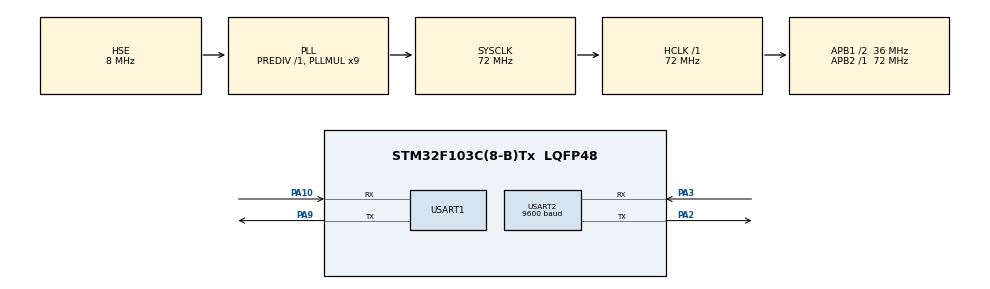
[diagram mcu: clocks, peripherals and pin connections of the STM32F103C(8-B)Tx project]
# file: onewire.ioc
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Mcu.Family=STM32F1
Mcu.Name=STM32F103C(8-B)Tx
Mcu.Package=LQFP48
NVIC.PriorityGroup=NVIC_PRIORITYGROUP_4
NVIC.USART2_IRQn=true\:0\:0\:false\:false\:true
PA10.Mode=Asynchronous
PA10.Signal=USART1_RX
PA2.Mode=Asynchronous
PA2.Signal=USART2_TX
PA3.Mode=Asynchronous
PA3.Signal=USART2_RX
PA9.Mode=Asynchronous
PA9.Signal=USART1_TX
PD0-OSC_IN.Mode=HSE-External-Oscillator
PD0-OSC_IN.Signal=RCC_OSC_IN
PD1-OSC_OUT.Mode=HSE-External-Oscillator
PD1-OSC_OUT.Signal=RCC_OSC_OUT
ProjectManager.HeapSize=0x200
ProjectManager.StackSize=0x400
ProjectManager.TargetToolchain=EWARM 6.70
RCC.AHBFreq_Value=72000000
RCC.APB1CLKDivider=RCC_HCLK_DIV2
RCC.APB1Freq_Value=36000000
RCC.APB1TimFreq_Value=72000000
RCC.APB2Freq_Value=72000000
RCC.APB2TimFreq_Value=72000000
RCC.HCLKFreq_Value=72000000
RCC.HSIState=RCC_HSI_ON
RCC.PLLMUL=RCC_PLL_MUL9
RCC.PLLSourceVirtual=RCC_PLLSOURCE_HSE
RCC.SYSCLKFreq_VALUE=72000000
RCC.SYSCLKSource=RCC_SYSCLKSOURCE_PLLCLK
RCC.USBFreq_Value=72000000
USART2.BaudRate=9600
VP_SYS_VS_ND.Mode=No_Debug
board=onewire

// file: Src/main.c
/**
  ******************************************************************************
  * File Name          : main.c
  * Description        : Main program body
  ******************************************************************************
  *
  * COPYRIGHT(c) 2016 STMicroelectronics
  *
  * Redistribution and use in source and binary forms, with or without modification,
  * are permitted provided that the following conditions are met:
  *   1. Redistributions of source code must retain the above copyright notice,
  *      this list of conditions and the following disclaimer.
  *   2. Redistributions in binary form must reproduce the above copyright notice,
  *      this list of conditions and the following disclaimer in the documentation
  *      and/or other materials provided with the distribution.
  *   3. Neither the name of STMicroelectronics nor the names of its contributors
  *      may be used to endorse or promote products derived from this software
  *      without specific prior written permission.
  *
  * THIS SOFTWARE IS PROVIDED BY THE COPYRIGHT HOLDERS AND CONTRIBUTORS "AS IS"
  * AND ANY EXPRESS OR IMPLIED WARRANTIES, INCLUDING, BUT NOT LIMITED TO, THE
  * IMPLIED WARRANTIES OF MERCHANTABILITY AND FITNESS FOR A PARTICULAR PURPOSE ARE
  * DISCLAIMED. IN NO EVENT SHALL THE COPYRIGHT HOLDER OR CONTRIBUTORS BE LIABLE
  * FOR ANY DIRECT, INDIRECT, INCIDENTAL, SPECIAL, EXEMPLARY, OR CONSEQUENTIAL
  * DAMAGES (INCLUDING, BUT NOT LIMITED TO, PROCUREMENT OF SUBSTITUTE GOODS OR
  * SERVICES; LOSS OF USE, DATA, OR PROFITS; OR BUSINESS INTERRUPTION) HOWEVER
  * CAUSED AND ON ANY THEORY OF LIABILITY, WHETHER IN CONTRACT, STRICT LIABILITY,
  * OR TORT (INCLUDING NEGLIGENCE OR OTHERWISE) ARISING IN ANY WAY OUT OF THE USE
  * OF THIS SOFTWARE, EVEN IF ADVISED OF THE POSSIBILITY OF SUCH DAMAGE.
  *
  ******************************************************************************
  */
#include "stm32f1xx_hal.h"

/* USER CODE BEGIN Includes */
#define SMALL
#include "stdio.h"
#include "ownet.h"
#include "temp10.h"
#include "findtype.h"

#define MAXDEVICES   20
#define ONEWIRE_P 2
#define RXBUFFERSIZE 64

/* USER CODE END Includes */

UART_HandleTypeDef huart1;
UART_HandleTypeDef huart2;

/* USER CODE BEGIN PV */
void DisplaySerialNum(uchar sn[8]);
int WeakReadTemperature(int, uchar*, float*);
/* Buffer used for reception */
 uint8_t aRxBuffer[RXBUFFERSIZE];
/* USER CODE END PV */

void SystemClock_Config(void);
void Error_Handler(void);
static void MX_GPIO_Init(void);
static void MX_USART1_UART_Init(void);
static void MX_USART2_UART_Init(void);

/* USER CODE BEGIN PFP */
#ifdef __GNUC__
      /* With GCC/RAISONANCE, small printf (option LD Linker->Libraries->Small printf
          set to 'Yes') calls __io_putchar() */
#define PUTCHAR_PROTOTYPE int __io_putchar(int ch)
       #else
       #define PUTCHAR_PROTOTYPE int fputc(int ch, FILE *f)
#endif /* __GNUC__ */

/* USER CODE END PFP */

int main(void)
{

  /* MCU Configuration----------------------------------------------------------*/

  /* Reset of all peripherals, Initializes the Flash interface and the Systick. */
  HAL_Init();

  /* Configure the system clock */
  SystemClock_Config();

  /* Initialize all configured peripherals */
  MX_GPIO_Init();
  MX_USART1_UART_Init();
  MX_USART2_UART_Init();

  /* USER CODE BEGIN 2 */
  printf("Hello, world!\r\n");

  uchar FamilySN[MAXDEVICES][8];
   float current_temp;
   int i = 0;
   int j = 0;
   int NumDevices = 0;
   SMALLINT didRead = 0;

   //use port number for 1-wire
   uchar portnum = ONEWIRE_P;

   //----------------------------------------
   // Introduction header
   printf("\r\nTemperature\r\n");

   // attempt to acquire the 1-Wire Net
   if (!owAcquire(portnum,NULL))
   {
      printf("Acquire failed\r\n");
      while(owHasErrors())
         printf("  - Error %d\r\n", owGetErrorNum());
   }

//   while(1)
//  {
      j = 0;
      printf("FindDevices\r\n");
      // Find the device(s)
      NumDevices = FindDevices(portnum, FamilySN, 0x10, MAXDEVICES);
      printf("NumDevices=%d",NumDevices);
      if (NumDevices>0)
      {
         printf("\r\n");
         // read the temperature and print serial number and temperature
         for (i = NumDevices; i; i--)
         {
            printf("(%d) ", j++);
            DisplaySerialNum(FamilySN[i-1]);
            if(owHasPowerDelivery(portnum))
            {
               didRead = ReadTemperature(portnum, FamilySN[i-1],&current_temp);
            }
            else
            {
               didRead = WeakReadTemperature(portnum, FamilySN[i-1],&current_temp);
            }

            if (didRead)
            {
               printf(" %5.1f Celsius\r\n", current_temp);
            }
            else
            {
               printf("  Convert failed.  Device is");
               if(!owVerify(portnum, FALSE))
                  printf(" not");
               printf(" present.\r\n");
               while(owHasErrors())
                  printf("  - Error %d\r\n", owGetErrorNum());
            }

         }
      }
      else
         printf("No temperature devices found!\r\n");

      owRelease(portnum);
//   }

  /* USER CODE END 2 */

  /* Infinite loop */
  while (1)
  {

  }

}

/** System Clock Configuration
*/
void SystemClock_Config(void)
{

  RCC_OscInitTypeDef RCC_OscInitStruct;
  RCC_ClkInitTypeDef RCC_ClkInitStruct;

  RCC_OscInitStruct.OscillatorType = RCC_OSCILLATORTYPE_HSE;
  RCC_OscInitStruct.HSEState = RCC_HSE_ON;
  RCC_OscInitStruct.HSEPredivValue = RCC_HSE_PREDIV_DIV1;
  RCC_OscInitStruct.PLL.PLLState = RCC_PLL_ON;
  RCC_OscInitStruct.PLL.PLLSource = RCC_PLLSOURCE_HSE;
  RCC_OscInitStruct.PLL.PLLMUL = RCC_PLL_MUL9;
  if (HAL_RCC_OscConfig(&RCC_OscInitStruct) != HAL_OK)
  {
    Error_Handler();
  }

  RCC_ClkInitStruct.ClockType = RCC_CLOCKTYPE_HCLK|RCC_CLOCKTYPE_SYSCLK
                              |RCC_CLOCKTYPE_PCLK1|RCC_CLOCKTYPE_PCLK2;
  RCC_ClkInitStruct.SYSCLKSource = RCC_SYSCLKSOURCE_PLLCLK;
  RCC_ClkInitStruct.AHBCLKDivider = RCC_SYSCLK_DIV1;
  RCC_ClkInitStruct.APB1CLKDivider = RCC_HCLK_DIV2;
  RCC_ClkInitStruct.APB2CLKDivider = RCC_HCLK_DIV1;
  if (HAL_RCC_ClockConfig(&RCC_ClkInitStruct, FLASH_LATENCY_2) != HAL_OK)
  {
    Error_Handler();
  }

  HAL_SYSTICK_Config(HAL_RCC_GetHCLKFreq()/1000);

  HAL_SYSTICK_CLKSourceConfig(SYSTICK_CLKSOURCE_HCLK);

  /* SysTick_IRQn interrupt configuration */
  HAL_NVIC_SetPriority(SysTick_IRQn, 0, 0);
}

/* USART1 init function */
static void MX_USART1_UART_Init(void)
{

  huart1.Instance = USART1;
  huart1.Init.BaudRate = 115200;
  huart1.Init.WordLength = UART_WORDLENGTH_8B;
  huart1.Init.StopBits = UART_STOPBITS_1;
  huart1.Init.Parity = UART_PARITY_NONE;
  huart1.Init.Mode = UART_MODE_TX_RX;
  huart1.Init.HwFlowCtl = UART_HWCONTROL_NONE;
  huart1.Init.OverSampling = UART_OVERSAMPLING_16;
  if (HAL_UART_Init(&huart1) != HAL_OK)
  {
    Error_Handler();
  }

}

/* USART2 init function */
static void MX_USART2_UART_Init(void)
{

  huart2.Instance = USART2;
  huart2.Init.BaudRate = 9600;
  huart2.Init.WordLength = UART_WORDLENGTH_8B;
  huart2.Init.StopBits = UART_STOPBITS_1;
  huart2.Init.Parity = UART_PARITY_NONE;
  huart2.Init.Mode = UART_MODE_TX_RX;
  huart2.Init.HwFlowCtl = UART_HWCONTROL_NONE;
  huart2.Init.OverSampling = UART_OVERSAMPLING_16;
  if (HAL_UART_Init(&huart2) != HAL_OK)
  {
    Error_Handler();
  }

}

/** Configure pins as
        * Analog
        * Input
        * Output
        * EVENT_OUT
        * EXTI
*/
static void MX_GPIO_Init(void)
{

  /* GPIO Ports Clock Enable */
  __HAL_RCC_GPIOD_CLK_ENABLE();
  __HAL_RCC_GPIOA_CLK_ENABLE();

}

/* USER CODE BEGIN 4 */
 PUTCHAR_PROTOTYPE
 {
   /* Place your implementation of fputc here */
   /* e.g. write a character to the USART1 and Loop until the end of transmission */
   HAL_UART_Transmit(&huart1, (uint8_t *)&ch, 1, 0xFFFF);

  return ch;
 }

// -------------------------------------------------------------------------------
// Read and print the serial number.
//
void DisplaySerialNum(uchar sn[8])
{
   int i;
   for (i = 7; i>=0; i--)
      printf("%02X", (int)sn[i]);
}

//----------------------------------------------------------------------
// Write an array of bytes to the COM port, verify that it was
// sent out.  Assume that baud rate has been set.
//
// 'portnum'  - number 0 to MAX_PORTNUM-1.  This number was provided to
//              OpenCOM to indicate the port number.
// 'outlen'   - number of bytes to write to COM port
// 'outbuf'   - pointer ot an array of bytes to write
//
// Returns:  TRUE(1)  - success
//           FALSE(0) - failure
//
int WriteCOM(int portnum, int outlen, uchar *outbuf)
{
   UART_HandleTypeDef *uart;

   printf("WriteCom %d\r\n",outlen);
   uart = (portnum == 0) ? &huart1 : &huart2;

   if(HAL_UART_Receive_IT(uart, (uint8_t *)aRxBuffer, RXBUFFERSIZE) != HAL_OK)
   {
      OWERROR(55);
      return 0;
   }

   return HAL_UART_Transmit(uart, (uint8_t *)outbuf, outlen, 0xFFFF) == HAL_OK;
}

//----------------------------------------------------------------------
// Read an array of bytes to the COM port, verify that it was
// sent out.  Assume that baud rate has been set.
//
// 'portnum'  - number 0 to MAX_PORTNUM-1.  This number was provided to
//               OpenCOM to indicate the port number.
// 'inlen'     - number of bytes to read from COM port
// 'inbuf'     - pointer to a buffer to hold the incomming bytes
//
// Returns: number of characters read
//
int ReadCOM(int portnum, int inlen, uchar *inbuf)
{
   uint32_t timeout;

   UART_HandleTypeDef *uart;

   uart = (portnum == 0) ? &huart1 : &huart2;
   timeout = 0;

   printf("\r\nReadCom start (portnum=%d, inlen=%d)\r\n",portnum,inlen);

   while(--timeout)
   {
     if(uart->RxXferCount == inlen)
     {
        printf("\r\nReadCom status =%d (%x)\r\n",inlen,inbuf[0]);
        return inlen;
     }
   }
   printf("\r\nReadCom Timeout\r\n");
   return 0;
}

void FlushCOM(int portnum)
 {;}

int OpenCOM(int portnum, char *port_zstr)
{
  return 1;
}

int CloseCOM(int portnum)
{
  return 1;
}

int OpenCOMEx(char *port_zstr)
{
 switch(port_zstr[0]){
   case '0':
     return 0;
   case '1':
     return 1;
   case '2':
     return 2;
   default:
     return -1;
 }
}

void BreakCOM(int portnum)
{
   if(portnum==1)
    {
      HAL_LIN_SendBreak(&huart1);
    }
   else
    {
      HAL_LIN_SendBreak(&huart2);
    }
}

void SetBaudCOM(int portnum, uchar new_baud)
{
  ;
}

void msDelay(int delay)
{
  HAL_Delay(delay);
}

//----------------------------------------------------------------------
// Read the temperature of a DS1920/DS1820 without using Power Delivery
//
// 'portnum'     - number 0 to MAX_PORTNUM-1.  This number was provided to
//                 OpenCOM to indicate the port number.
// 'SerialNum'   - Serial Number of DS1920/DS1820 to read temperature from
// 'Temp '       - pointer to variable where that temperature will be
//                 returned
//
// Returns: TRUE(1)  temperature has been read and verified
//          FALSE(0) could not read the temperature, perhaps device is not
//                   in contact
//
int WeakReadTemperature(int portnum, uchar *SerialNum, float *Temp)
{
   uchar rt=FALSE;
   uchar send_block[30],lastcrc8;
   int send_cnt=0, tsht, i, loop=0;
   float tmp,cr,cpc;

   setcrc8(portnum,0);

   // set the device serial number to the counter device
   owSerialNum(portnum,SerialNum,FALSE);

   for (loop = 0; loop < 2; loop ++)
   {
      // access the device
      if (owAccess(portnum))
      {
         // send the convert temperature command
         owTouchByte(portnum,0x44);

         // sleep for 1 second
         msDelay(1000);

         // turn off the 1-Wire Net strong pull-up
         if (owLevel(portnum,MODE_NORMAL) != MODE_NORMAL)
            return FALSE;

         // access the device
         if (owAccess(portnum))
         {
            // create a block to send that reads the temperature
            // read scratchpad command
            send_block[send_cnt++] = 0xBE;
            // now add the read bytes for data bytes and crc8
            for (i = 0; i < 9; i++)
               send_block[send_cnt++] = 0xFF;

            // now send the block
            if (owBlock(portnum,FALSE,send_block,send_cnt))
            {
               // perform the CRC8 on the last 8 bytes of packet
               for (i = send_cnt - 9; i < send_cnt; i++)
                  lastcrc8 = docrc8(portnum,send_block[i]);

               // verify CRC8 is correct
               if (lastcrc8 == 0x00)
               {
                  // calculate the high-res temperature
                  tsht = send_block[1]/2;
                  if (send_block[2] & 0x01)
                     tsht |= -128;
                  tmp = (float)(tsht);
                  cr = send_block[7];
                  cpc = send_block[8];
                  if (((cpc - cr) == 1) && (loop == 0))
                     continue;
                  if (cpc == 0)
                     return FALSE;
                  else
                     tmp = tmp - (float)0.25 + (cpc - cr)/cpc;

                  *Temp = tmp;
                  // success
                  rt = TRUE;
               }
            }
         }
      }

   }

   // return the result flag rt
   return rt;
}

/* USER CODE END 4 */

void Error_Handler(void)
{
  while(1)
  {
  }
}

/************************ (C) COPYRIGHT STMicroelectronics *****END OF FILE****/
